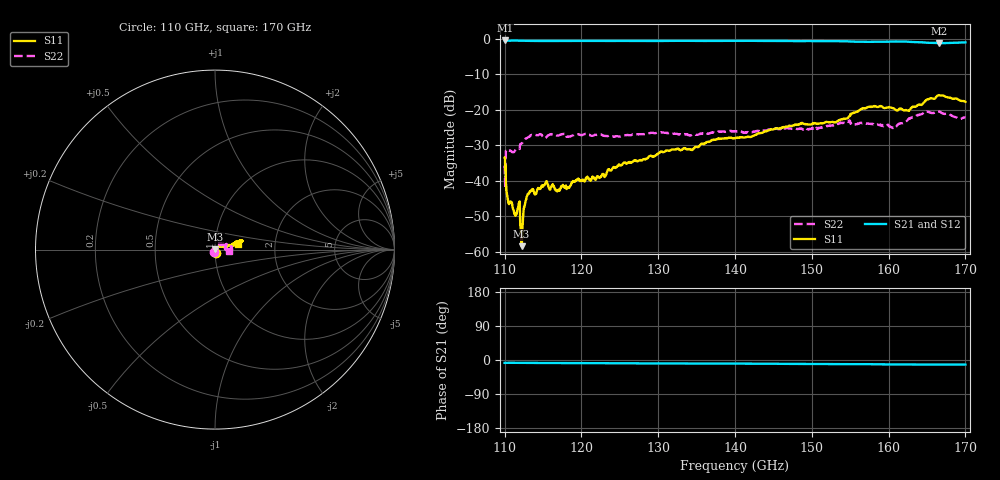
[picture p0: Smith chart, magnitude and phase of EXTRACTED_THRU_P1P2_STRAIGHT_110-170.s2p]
! Generated by Phase I extraction
# Hz S RI R 50
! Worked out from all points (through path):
!   1471 points, 110 GHz to 170 GHz, reference 50 ohm
!   highest |S21| = -0.43 dB at 110 GHz (marker M1); lowest = -1.2 dB at 166.6 GHz (marker M2)
!   group delay of S21, straight-line fit = 222 fs
!   lowest |S11| = -58.4 dB at 112.2 GHz (marker M3), VSWR 1.00, Z = 50.1 + j0.0838 ohm
!   |S11| at or under -10 dB: start of sweep to end of sweep
!   |S22| runs from -41.9 to -20.4 dB; largest |S21 - S12| = 0.017
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1.1e11  0.00734 -0.0199  0.9379 -0.125  0.9359 -0.1214  -0.00794 -0.0143
1.100408e11  0.0185 -0.00998  0.9435 -0.1274  0.9421 -0.1185  -0.00659 0.00853
1.105306e11  0.00161 -0.00446  0.9384 -0.1212  0.939 -0.1178  0.0182 0.0195
1.113061e11  0.00122 -0.00326  0.9405 -0.121  0.9409 -0.1165  0.0184 0.0185
1.117143e11  0.00331 -0.00236  0.9394 -0.1201  0.9398 -0.1158  0.0195 0.0209
1.122041e11  0.000854 0.000837  0.936 -0.1223  0.9362 -0.1174  0.0217 0.0258
1.124082e11  -0.00165 0.00276  0.9352 -0.1237  0.9348 -0.118  0.022 0.0274
1.128163e11  -0.00218 0.00502  0.9314 -0.1242  0.9316 -0.1177  0.0242 0.0316
1.134694e11  -0.00137 0.00721  0.9302 -0.1243  0.9309 -0.1176  0.0255 0.0358
1.140408e11  -0.000574 0.00645  0.9292 -0.1261  0.9311 -0.1204  0.0262 0.0355
1.153469e11  -0.00279 0.00897  0.927 -0.1318  0.9266 -0.1267  0.0252 0.0315
1.169388e11  0.000709 0.00731  0.9279 -0.1336  0.9291 -0.1262  0.0287 0.0324
1.2e11  0.00557 0.00831  0.9297 -0.134  0.9305 -0.1272  0.0312 0.031
1.3e11  0.0185 0.0154  0.9252 -0.1442  0.9265 -0.1385  0.0354 0.0327
1.4e11  0.0363 0.0165  0.9279 -0.1546  0.9287 -0.1487  0.0394 0.0303
1.5e11  0.0609 0.015  0.9166 -0.1706  0.9187 -0.1666  0.0476 0.028
1.546939e11  0.073 0.0245  0.9089 -0.1766  0.9096 -0.1735  0.0616 0.0283
1.573469e11  0.1058 0.0284  0.8936 -0.1751  0.8925 -0.1812  0.0588 0.0248
1.6e11  0.1055 0.0254  0.896 -0.1833  0.8974 -0.18  0.0587 0.0153
1.625306e11  0.093 0.027  0.8954 -0.1878  0.8952 -0.1849  0.0728 -0.00734
1.665714e11  0.1543 0.048  0.8513 -0.1807  0.8483 -0.1961  0.0934 0.0185
1.7e11  0.1257 0.0329  0.8732 -0.186  0.8742 -0.1815  0.077 -0.0103
